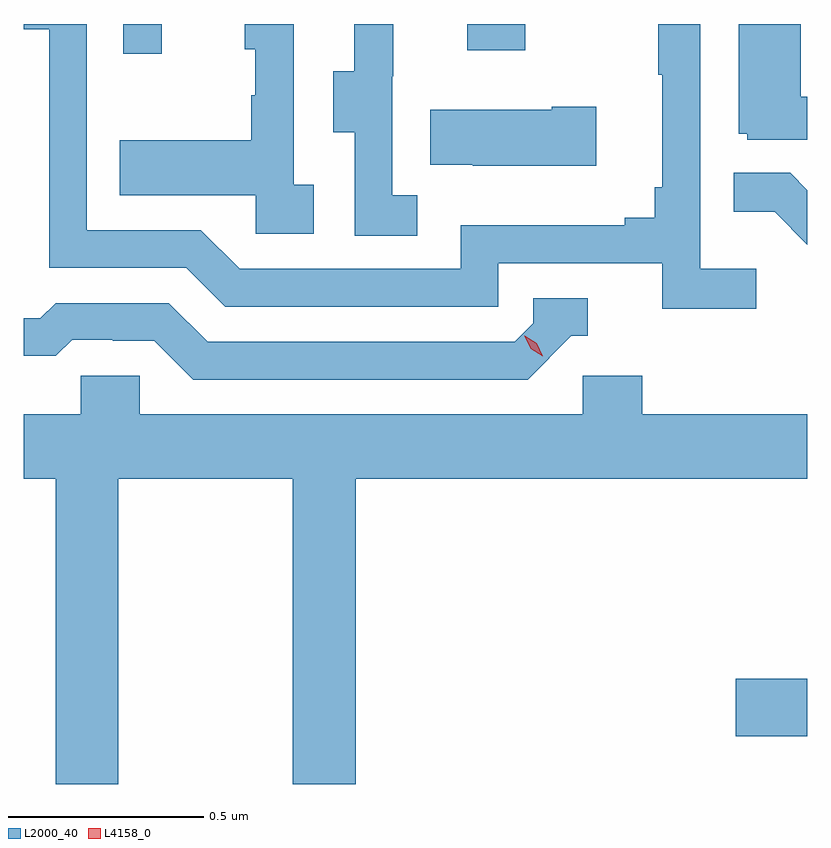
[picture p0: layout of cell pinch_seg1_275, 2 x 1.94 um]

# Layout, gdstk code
import gdstk
lib = gdstk.Library(unit=1e-6, precision=1e-09)
def R(c, l, rs):  # rectangles x0, y0, x1, y1
    for r in rs: c.add(gdstk.rectangle(r[:2], r[2:], *l))
def P(c, l, *ps):  # polygons
    for p in ps: c.add(gdstk.Polygon(p, *l))
L2000_40 = (2000, 40)
L4158_0 = (4158, 0)

pinch_seg1_275 = lib.new_cell('pinch_seg1_275')
R(pinch_seg1_275, L2000_40, [(926.352,569.723,926.535,569.87), (924.789,571.464,924.887,571.54), (925.667,571.473,925.815,571.54)])
P(pinch_seg1_275, L2000_40, [(925.54,571.103),(925.476,571.103),(925.476,571.407),(925.478,571.407),(925.478,571.54),(925.379,571.54),(925.379,571.419),(925.325,571.419),(925.325,571.264),(925.38,571.264),(925.38,571),(925.54,571)],
  [(925.276,571.13),(925.224,571.13),(925.224,571.54),(925.1,571.54),(925.1,571.476),(925.126,571.476),(925.126,571.358),(925.116,571.358),(925.116,571.243),(924.781,571.243),(924.781,571.103),(925.128,571.103),(925.128,571.005),(925.276,571.005)],
  [(926.535,571.354),(926.518,571.354),(926.518,571.54),(926.36,571.54),(926.36,571.26),(926.382,571.26),(926.382,571.245),(926.535,571.245)],
  [(926.404,570.916),(926.262,570.916),(926.262,571.54),(926.154,571.54),(926.154,571.411),(926.165,571.411),(926.165,571.123),(926.146,571.123),(926.146,571.046),(926.069,571.046),(926.069,571.027),(925.65,571.027),(925.65,570.915),(925.086,570.915),(924.987,571.014),(924.696,571.014),(924.696,571.54),(924.535,571.54),(924.535,571.527),(924.6,571.527),(924.6,570.918),(924.95,570.918),(925.049,570.819),(925.746,570.819),(925.746,570.93),(926.165,570.93),(926.165,570.814),(926.404,570.814)],
  [(925.996,571.329),(925.883,571.329),(925.883,571.321),(925.573,571.321),(925.573,571.181),(925.681,571.181),(925.681,571.178),(925.996,571.178)],
  [(926.535,571.116),(926.491,571.16),(926.347,571.16),(926.347,571.061),(926.451,571.061),(926.535,570.977)],
  [(925.932,570.744),(925.975,570.744),(925.975,570.84),(925.836,570.84),(925.836,570.777),(925.788,570.729),(925.005,570.729),(924.906,570.828),(924.617,570.828),(924.578,570.789),(924.535,570.789),(924.535,570.693),(924.617,570.693),(924.659,570.735),(924.762,570.735),(924.762,570.732),(924.869,570.732),(924.968,570.633),(925.821,570.633)],
  [(924.777,570.38),(925.222,570.38),(925.222,569.601),(925.382,569.601),(925.382,570.38),(926.535,570.38),(926.535,570.544),(926.114,570.544),(926.114,570.642),(925.962,570.642),(925.962,570.544),(924.831,570.544),(924.831,570.642),(924.681,570.642),(924.681,570.544),(924.535,570.544),(924.535,570.38),(924.617,570.38),(924.617,569.601),(924.777,569.601)])
P(pinch_seg1_275, L4158_0, [(925.86,570.692),(925.829,570.711),(925.813,570.744),(925.813,570.744),(925.814,570.744),(925.844,570.725),(925.86,570.692),(925.86,570.692)])

lib.write_gds('pinch_seg1_275.gds')
